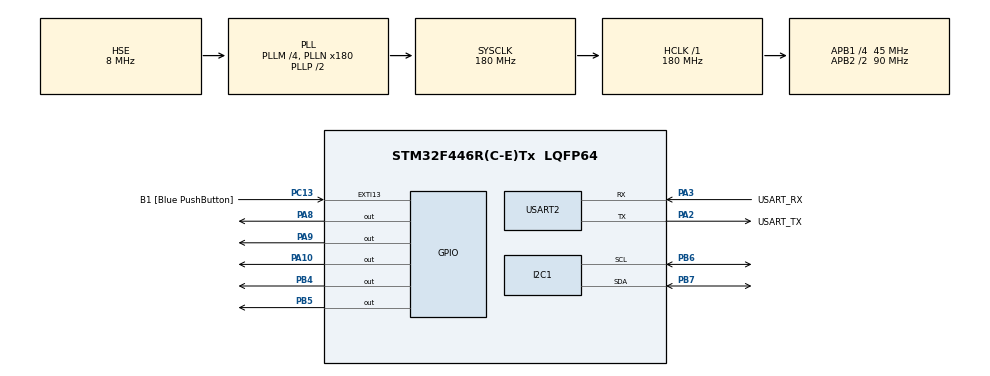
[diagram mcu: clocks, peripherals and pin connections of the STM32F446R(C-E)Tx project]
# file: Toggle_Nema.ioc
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Dma.I2C1_RX.0.Direction=DMA_PERIPH_TO_MEMORY
Dma.I2C1_RX.0.FIFOMode=DMA_FIFOMODE_DISABLE
Dma.I2C1_RX.0.Instance=DMA1_Stream0
Dma.I2C1_RX.0.MemDataAlignment=DMA_MDATAALIGN_BYTE
Dma.I2C1_RX.0.MemInc=DMA_MINC_ENABLE
Dma.I2C1_RX.0.Mode=DMA_NORMAL
Dma.I2C1_RX.0.PeriphDataAlignment=DMA_PDATAALIGN_BYTE
Dma.I2C1_RX.0.PeriphInc=DMA_PINC_DISABLE
Dma.I2C1_RX.0.Priority=DMA_PRIORITY_MEDIUM
Dma.Request0=I2C1_RX
Mcu.Family=STM32F4
Mcu.Name=STM32F446R(C-E)Tx
Mcu.Package=LQFP64
NVIC.DMA1_Stream0_IRQn=true\:0\:0\:false\:false\:true\:false\:true\:true
NVIC.PriorityGroup=NVIC_PRIORITYGROUP_0
NVIC.TIM7_IRQn=true\:0\:0\:false\:false\:true\:true\:true\:true
PA10.Signal=GPIO_Output
PA13.GPIO_Label=TMS
PA13.Mode=Serial_Wire
PA13.Signal=SYS_JTMS-SWDIO
PA14.GPIO_Label=TCK
PA14.Mode=Serial_Wire
PA14.Signal=SYS_JTCK-SWCLK
PA2.GPIO_Label=USART_TX
PA2.Mode=Asynchronous
PA2.Signal=USART2_TX
PA3.GPIO_Label=USART_RX
PA3.Mode=Asynchronous
PA3.Signal=USART2_RX
PA8.Signal=GPIO_Output
PA9.Signal=GPIO_Output
PB3.GPIO_Label=SWO
PB3.Signal=SYS_JTDO-SWO
PB4.Signal=GPIO_Output
PB5.Signal=GPIO_Output
PB6.Mode=I2C
PB6.Signal=I2C1_SCL
PB7.Mode=I2C
PB7.Signal=I2C1_SDA
PC13.GPIO_Label=B1 [Blue PushButton]
PC13.GPIO_ModeDefaultEXTI=GPIO_MODE_IT_FALLING
PC13.Signal=GPXTI13
PC14-OSC32_IN.Mode=LSE-External-Oscillator
PC14-OSC32_IN.Signal=RCC_OSC32_IN
PC15-OSC32_OUT.Mode=LSE-External-Oscillator
PC15-OSC32_OUT.Signal=RCC_OSC32_OUT
PH0-OSC_IN.Mode=HSE-External-Oscillator
PH0-OSC_IN.Signal=RCC_OSC_IN
PH1-OSC_OUT.Mode=HSE-External-Oscillator
PH1-OSC_OUT.Signal=RCC_OSC_OUT
ProjectManager.HeapSize=0x200
ProjectManager.StackSize=0x400
ProjectManager.TargetToolchain=STM32CubeIDE
RCC.48MHZClocksFreq_Value=84000000
RCC.AHBFreq_Value=180000000
RCC.APB1CLKDivider=RCC_HCLK_DIV4
RCC.APB1Freq_Value=45000000
RCC.APB1TimFreq_Value=90000000
RCC.APB2CLKDivider=RCC_HCLK_DIV2
RCC.APB2Freq_Value=90000000
RCC.APB2TimFreq_Value=180000000
RCC.CortexFreq_Value=180000000
RCC.FLatency-AdvancedSettings=FLASH_LATENCY_5
RCC.HCLKFreq_Value=180000000
RCC.HSE_VALUE=8000000
RCC.HSI_VALUE=16000000
RCC.PLLM=4
RCC.PLLN=180
RCC.PLLSourceVirtual=RCC_PLLSOURCE_HSE
RCC.SYSCLKFreq_VALUE=180000000
RCC.SYSCLKSource=RCC_SYSCLKSOURCE_PLLCLK
RCC.USBFreq_Value=180000000
RCC.VCOOutputFreq_Value=360000000
TIM1.Prescaler=71
TIM7.Period=5000-1
TIM7.Prescaler=720-1
USART2.VirtualMode=VM_ASYNC
VP_TIM1_VS_ClockSourceINT.Mode=Internal
VP_TIM7_VS_ClockSourceINT.Mode=Enable_Timer
board=NUCLEO-F446RE

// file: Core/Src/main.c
/* USER CODE BEGIN Header */
/**
  ******************************************************************************
  * @file           : main.c
  * @brief          : Main program body
  ******************************************************************************
  * @attention
  *
  * Copyright (c) 2022 STMicroelectronics.
  * All rights reserved.
  *
  * This software is licensed under terms that can be found in the LICENSE file
  * in the root directory of this software component.
  * If no LICENSE file comes with this software, it is provided AS-IS.
  *
  ******************************************************************************
  */
/* USER CODE END Header */
#include "main.h"

/* USER CODE BEGIN Includes */
#include "stdio.h"      //printf function
#include "math.h"       //atan2 function
/* USER CODE END Includes */

 I2C_HandleTypeDef hi2c1;
DMA_HandleTypeDef hdma_i2c1_rx;

TIM_HandleTypeDef htim1;
TIM_HandleTypeDef htim7;

UART_HandleTypeDef huart2;

void SystemClock_Config(void);
static void MX_GPIO_Init(void);
static void MX_USART2_UART_Init(void);
static void MX_TIM1_Init(void);
static void MX_DMA_Init(void);
static void MX_TIM7_Init(void);
static void MX_I2C1_Init(void);

/* USER CODE BEGIN 0 */

//int _write(int file, char *ptr, int len)   //used for printf
//{
  /* Implement your write code here, this is used by puts and printf for example */
 // int i=0;
 // for(i=0 ; i<len ; i++)
 //   ITM_SendChar((*ptr++));
 // return len;
//}

#define WHO_AM_I_REG		0x75
#define MPU6050_ADDR		0xD0
#define PWR_MGMT_1_REG		0x6B
#define GYRO_CONFIG_REG		0x1B
#define ACCEL_CONFIG_REG	0x1C
#define SMPLRT_DIV_REG		0x19
#define ACCEL_XOUT_H_REG	0x3B
#define TEMP_OUT_H_REG		0x41
#define GYRO_XOUT_H_REG		0x43
#define DIR_PIN_O GPIO_PIN_4
#define DIR_PORT_O GPIOB
#define STEP_PIN_O GPIO_PIN_10
#define STEP_PORT_O GPIOA
#define DIR_PIN_B GPIO_PIN_8
#define DIR_PORT_B GPIOA
#define STEP_PIN_B GPIO_PIN_5
#define STEP_PORT_B GPIOB
volatile unsigned int *DWT_CYCCNT   = (volatile unsigned int *)0xE0001004;
volatile unsigned int *DWT_CONTROL  = (volatile unsigned int *)0xE0001000;
volatile unsigned int x;
volatile unsigned int y;
volatile unsigned int a;

int stepDelay = 2000; // 1000us more delay means less speed
int count = 1;

void microDelay (uint16_t delay)
{
  __HAL_TIM_SET_COUNTER(&htim1, 0);
  while (__HAL_TIM_GET_COUNTER(&htim1) < delay);
}

//#define INT_STATUS_REG		0x3A
//#define FIFO_EN_REG 			0x23
//#define INT_ENABLE_REG 		0x38
//#define I2CMACO_REG 			0x23
//#define USER_CNT_REG			0x6A
//#define FIFO_COUNTH_REG 	    0x72
//#define FIFO_R_W_REG 			0x74
//#define CONFIG_REG			0x1A

int16_t Accel_X_RAW = 0;
int16_t Accel_Y_RAW = 0;
int16_t Accel_Z_RAW = 0;

int16_t Gyro_X_RAW = 0;
int16_t Gyro_Y_RAW = 0;
int16_t Gyro_Z_RAW = 0;

float Ax = 0.0;
float Ay = 0.0;
float Az = 0.0;
float Gx = 0.0;
float Gy = 0.0;
float Gz = 0.0;

float Ax_offset = 0.0;
float Ay_offset = 0.0;
float Az_offset = 0.0;
float Gx_offset = -6.068702;
float Gy_offset = 5.877862;
float Gz_offset = 0.0;

double RAD_TO_DEG = 180.0/3.14;
int16_t gyroX;
int16_t Gyro_X_RAW_offset = -862;
float accAngle;
float gyroAngle=0;
float prevAngle=0;
float currentAngle;
float gyroRate;
unsigned long currTime, prevTime=0, loopTime;

void MPU6050_Init (void)
{
	uint8_t check, Data;

	//check device ID WHO_AM_I

	HAL_I2C_Mem_Read (&hi2c1, MPU6050_ADDR,WHO_AM_I_REG,1, &check, 1, 1000);

		if (check == 104)  // 0x68 will be returned by the sensor if everything goes well
			{
				// power management register 0X6B we should write all 0's to wake the sensor up
				Data = 0;
				HAL_I2C_Mem_Write(&hi2c1, MPU6050_ADDR, PWR_MGMT_1_REG, 1,&Data, 1, 1000);

				// Set DATA RATE of 1KHz by writing SMPLRT_DIV register
				Data = 0x07;
				HAL_I2C_Mem_Write(&hi2c1, MPU6050_ADDR, SMPLRT_DIV_REG, 1, &Data, 1, 1000);

				// Set accelerometer configuration in ACCEL_CONFIG Register
				// XA_ST=0,YA_ST=0,ZA_ST=0, FS_SEL=0 -> +/- 2g
				Data = 0x00;
				HAL_I2C_Mem_Write(&hi2c1, MPU6050_ADDR, ACCEL_CONFIG_REG, 1, &Data, 1, 1000);

				// Set Gyroscopic configuration in GYRO_CONFIG Register
				// XG_ST=0,YG_ST=0,ZG_ST=0, FS_SEL=0 -> +/- 250 deg/s
				Data = 0x00;
				HAL_I2C_Mem_Write(&hi2c1, MPU6050_ADDR, GYRO_CONFIG_REG, 1, &Data, 1, 1000);

	       }
}

void MPU6050_Read_Accel (void)
{
	uint8_t Rec_Data[6];

	//Read 6 Bytes of data starting from ACCEL_XOUT_H register

	HAL_I2C_Mem_Read (&hi2c1, MPU6050_ADDR, ACCEL_XOUT_H_REG, 1, Rec_Data, 6, 1000);

	Accel_X_RAW = (int16_t)(Rec_Data[0] << 8 | Rec_Data[1]);
	Accel_Y_RAW = (int16_t)(Rec_Data[2] << 8 | Rec_Data[3]);
	Accel_Z_RAW = (int16_t)(Rec_Data[4] << 8 | Rec_Data[5]);

	/*** convert the RAW values into acceleration in 'g'
	     we have to divide according to the Full scale value set in FS_SEL
	     I have configured FS_SEL = 0. So I am dividing by 16384.0
	     for more details check ACCEL_CONFIG Register              ****/

	Ax = ((float) Accel_X_RAW)/16384.0 - Ax_offset;  // get the float g
	Ay = ((float) Accel_Y_RAW)/16384.0 - Ay_offset;
	Az = ((float) Accel_Z_RAW)/16384.0 - Az_offset;
}

void MPU6050_Read_Gyro (void)
{
	uint8_t Rec_Data[6];

	// Read 6 BYTES of data starting from GYRO_XOUT_H register

	HAL_I2C_Mem_Read (&hi2c1, MPU6050_ADDR, GYRO_XOUT_H_REG, 1, Rec_Data, 6, 1000);

	Gyro_X_RAW = (int16_t)(Rec_Data[0] << 8 | Rec_Data[1]);
	Gyro_Y_RAW = (int16_t)(Rec_Data[2] << 8 | Rec_Data[3]);
	Gyro_Z_RAW = (int16_t)(Rec_Data[4] << 8 | Rec_Data[5]);

	/*** convert the RAW values into dps (°/s)
	     we have to divide according to the Full scale value set in FS_SEL
	     I have configured FS_SEL = 0. So I am dividing by 131.0
	     for more details check GYRO_CONFIG Register              ****/

	Gx = ((float) Gyro_X_RAW)/131.0 - Gx_offset;
	Gy = ((float) Gyro_Y_RAW)/131.0 - Gy_offset;
	Gz = ((float) Gyro_Z_RAW)/131.0 - Gz_offset;
}
void HAL_TIM_PeriodElapsedCallback(TIM_HandleTypeDef *htim)
{

  MPU6050_Read_Accel();
  MPU6050_Read_Gyro();

}
/* USER CODE END 0 */

int main(void)
{

  /* MCU Configuration--------------------------------------------------------*/

  /* Reset of all peripherals, Initializes the Flash interface and the Systick. */
  HAL_Init();

  /* Configure the system clock */
  SystemClock_Config();

  /* Initialize all configured peripherals */
  MX_GPIO_Init();
  MX_USART2_UART_Init();
  MX_TIM1_Init();
  MX_DMA_Init();
  MX_TIM7_Init();
  MX_I2C1_Init();
  /* USER CODE BEGIN 2 */
  MPU6050_Init();
  HAL_TIM_Base_Start(&htim1);
  HAL_TIM_Base_Start_IT(&htim7);
  /* USER CODE END 2 */

  /* Infinite loop */
  while (1)
  {

    /* USER CODE BEGIN 3 */
	  //*DWT_CYCCNT=0;
	  //*DWT_CONTROL=1;
	  //MPU6050_Read_Accel();
	  //MPU6050_Read_Gyro();
	  //x=*DWT_CYCCNT;
	  currTime = HAL_GetTick();
	  accAngle = atan2(Ay, Az)*RAD_TO_DEG;
	  currTime = HAL_GetTick();
	  loopTime = currTime - prevTime;
	  prevTime = currTime;
	  gyroAngle = (float)Gx*loopTime/1000;
	  currentAngle = 0.95*(currentAngle + gyroAngle) + 0.05*(accAngle);
	  //x=*DWT_CYCCNT;
	  HAL_GPIO_WritePin(DIR_PORT_O, DIR_PIN_O, GPIO_PIN_SET);
	  HAL_GPIO_WritePin(DIR_PORT_B, DIR_PIN_B, GPIO_PIN_RESET);
	  HAL_GPIO_WritePin(STEP_PORT_O, STEP_PIN_O, GPIO_PIN_SET);
	  HAL_GPIO_WritePin(STEP_PORT_B, STEP_PIN_B, GPIO_PIN_SET);
	  microDelay(stepDelay);
	  HAL_GPIO_WritePin(STEP_PORT_O, STEP_PIN_O, GPIO_PIN_RESET);
	  HAL_GPIO_WritePin(STEP_PORT_B, STEP_PIN_B, GPIO_PIN_RESET);
	  microDelay(stepDelay);
	  //x=*DWT_CYCCNT;
	  //y= *DWT_CYCCNT;
	  //a= x-y;

  }
  /* USER CODE END 3 */
}

void SystemClock_Config(void)
{
  RCC_OscInitTypeDef RCC_OscInitStruct = {0};
  RCC_ClkInitTypeDef RCC_ClkInitStruct = {0};

  /** Configure the main internal regulator output voltage
  */
  __HAL_RCC_PWR_CLK_ENABLE();
  __HAL_PWR_VOLTAGESCALING_CONFIG(PWR_REGULATOR_VOLTAGE_SCALE1);

  /** Initializes the RCC Oscillators according to the specified parameters
  * in the RCC_OscInitTypeDef structure.
  */
  RCC_OscInitStruct.OscillatorType = RCC_OSCILLATORTYPE_HSE;
  RCC_OscInitStruct.HSEState = RCC_HSE_ON;
  RCC_OscInitStruct.PLL.PLLState = RCC_PLL_ON;
  RCC_OscInitStruct.PLL.PLLSource = RCC_PLLSOURCE_HSE;
  RCC_OscInitStruct.PLL.PLLM = 4;
  RCC_OscInitStruct.PLL.PLLN = 180;
  RCC_OscInitStruct.PLL.PLLP = RCC_PLLP_DIV2;
  RCC_OscInitStruct.PLL.PLLQ = 2;
  RCC_OscInitStruct.PLL.PLLR = 2;
  if (HAL_RCC_OscConfig(&RCC_OscInitStruct) != HAL_OK)
  {
    Error_Handler();
  }

  /** Activate the Over-Drive mode
  */
  if (HAL_PWREx_EnableOverDrive() != HAL_OK)
  {
    Error_Handler();
  }

  /** Initializes the CPU, AHB and APB buses clocks
  */
  RCC_ClkInitStruct.ClockType = RCC_CLOCKTYPE_HCLK|RCC_CLOCKTYPE_SYSCLK
                              |RCC_CLOCKTYPE_PCLK1|RCC_CLOCKTYPE_PCLK2;
  RCC_ClkInitStruct.SYSCLKSource = RCC_SYSCLKSOURCE_PLLCLK;
  RCC_ClkInitStruct.AHBCLKDivider = RCC_SYSCLK_DIV1;
  RCC_ClkInitStruct.APB1CLKDivider = RCC_HCLK_DIV4;
  RCC_ClkInitStruct.APB2CLKDivider = RCC_HCLK_DIV2;

  if (HAL_RCC_ClockConfig(&RCC_ClkInitStruct, FLASH_LATENCY_5) != HAL_OK)
  {
    Error_Handler();
  }
}

static void MX_I2C1_Init(void)
{

  hi2c1.Instance = I2C1;
  hi2c1.Init.ClockSpeed = 100000;
  hi2c1.Init.DutyCycle = I2C_DUTYCYCLE_2;
  hi2c1.Init.OwnAddress1 = 0;
  hi2c1.Init.AddressingMode = I2C_ADDRESSINGMODE_7BIT;
  hi2c1.Init.DualAddressMode = I2C_DUALADDRESS_DISABLE;
  hi2c1.Init.OwnAddress2 = 0;
  hi2c1.Init.GeneralCallMode = I2C_GENERALCALL_DISABLE;
  hi2c1.Init.NoStretchMode = I2C_NOSTRETCH_DISABLE;
  if (HAL_I2C_Init(&hi2c1) != HAL_OK)
  {
    Error_Handler();
  }

}

static void MX_TIM1_Init(void)
{

  TIM_ClockConfigTypeDef sClockSourceConfig = {0};
  TIM_MasterConfigTypeDef sMasterConfig = {0};

  htim1.Instance = TIM1;
  htim1.Init.Prescaler = 71;
  htim1.Init.CounterMode = TIM_COUNTERMODE_UP;
  htim1.Init.Period = 65535;
  htim1.Init.ClockDivision = TIM_CLOCKDIVISION_DIV1;
  htim1.Init.RepetitionCounter = 0;
  htim1.Init.AutoReloadPreload = TIM_AUTORELOAD_PRELOAD_DISABLE;
  if (HAL_TIM_Base_Init(&htim1) != HAL_OK)
  {
    Error_Handler();
  }
  sClockSourceConfig.ClockSource = TIM_CLOCKSOURCE_INTERNAL;
  if (HAL_TIM_ConfigClockSource(&htim1, &sClockSourceConfig) != HAL_OK)
  {
    Error_Handler();
  }
  sMasterConfig.MasterOutputTrigger = TIM_TRGO_RESET;
  sMasterConfig.MasterSlaveMode = TIM_MASTERSLAVEMODE_DISABLE;
  if (HAL_TIMEx_MasterConfigSynchronization(&htim1, &sMasterConfig) != HAL_OK)
  {
    Error_Handler();
  }

}

static void MX_TIM7_Init(void)
{

  TIM_MasterConfigTypeDef sMasterConfig = {0};

  htim7.Instance = TIM7;
  htim7.Init.Prescaler = 720-1;
  htim7.Init.CounterMode = TIM_COUNTERMODE_UP;
  htim7.Init.Period = 5000-1;
  htim7.Init.AutoReloadPreload = TIM_AUTORELOAD_PRELOAD_DISABLE;
  if (HAL_TIM_Base_Init(&htim7) != HAL_OK)
  {
    Error_Handler();
  }
  sMasterConfig.MasterOutputTrigger = TIM_TRGO_RESET;
  sMasterConfig.MasterSlaveMode = TIM_MASTERSLAVEMODE_DISABLE;
  if (HAL_TIMEx_MasterConfigSynchronization(&htim7, &sMasterConfig) != HAL_OK)
  {
    Error_Handler();
  }

}

static void MX_USART2_UART_Init(void)
{

  huart2.Instance = USART2;
  huart2.Init.BaudRate = 115200;
  huart2.Init.WordLength = UART_WORDLENGTH_8B;
  huart2.Init.StopBits = UART_STOPBITS_1;
  huart2.Init.Parity = UART_PARITY_NONE;
  huart2.Init.Mode = UART_MODE_TX_RX;
  huart2.Init.HwFlowCtl = UART_HWCONTROL_NONE;
  huart2.Init.OverSampling = UART_OVERSAMPLING_16;
  if (HAL_UART_Init(&huart2) != HAL_OK)
  {
    Error_Handler();
  }

}

static void MX_DMA_Init(void)
{

  /* DMA controller clock enable */
  __HAL_RCC_DMA1_CLK_ENABLE();

  /* DMA interrupt init */
  /* DMA1_Stream0_IRQn interrupt configuration */
  HAL_NVIC_SetPriority(DMA1_Stream0_IRQn, 0, 0);
  HAL_NVIC_EnableIRQ(DMA1_Stream0_IRQn);

}

static void MX_GPIO_Init(void)
{
  GPIO_InitTypeDef GPIO_InitStruct = {0};

  /* GPIO Ports Clock Enable */
  __HAL_RCC_GPIOC_CLK_ENABLE();
  __HAL_RCC_GPIOH_CLK_ENABLE();
  __HAL_RCC_GPIOA_CLK_ENABLE();
  __HAL_RCC_GPIOB_CLK_ENABLE();

  /*Configure GPIO pin Output Level */
  HAL_GPIO_WritePin(GPIOA, GPIO_PIN_8|GPIO_PIN_9|GPIO_PIN_10, GPIO_PIN_RESET);

  /*Configure GPIO pin Output Level */
  HAL_GPIO_WritePin(GPIOB, GPIO_PIN_4|GPIO_PIN_5, GPIO_PIN_RESET);

  /*Configure GPIO pin : B1_Pin */
  GPIO_InitStruct.Pin = B1_Pin;
  GPIO_InitStruct.Mode = GPIO_MODE_IT_FALLING;
  GPIO_InitStruct.Pull = GPIO_NOPULL;
  HAL_GPIO_Init(B1_GPIO_Port, &GPIO_InitStruct);

  /*Configure GPIO pins : PA8 PA9 PA10 */
  GPIO_InitStruct.Pin = GPIO_PIN_8|GPIO_PIN_9|GPIO_PIN_10;
  GPIO_InitStruct.Mode = GPIO_MODE_OUTPUT_PP;
  GPIO_InitStruct.Pull = GPIO_NOPULL;
  GPIO_InitStruct.Speed = GPIO_SPEED_FREQ_LOW;
  HAL_GPIO_Init(GPIOA, &GPIO_InitStruct);

  /*Configure GPIO pins : PB4 PB5 */
  GPIO_InitStruct.Pin = GPIO_PIN_4|GPIO_PIN_5;
  GPIO_InitStruct.Mode = GPIO_MODE_OUTPUT_PP;
  GPIO_InitStruct.Pull = GPIO_NOPULL;
  GPIO_InitStruct.Speed = GPIO_SPEED_FREQ_LOW;
  HAL_GPIO_Init(GPIOB, &GPIO_InitStruct);

}

void Error_Handler(void)
{
  __disable_irq();
  while (1)
  {
  }
}
